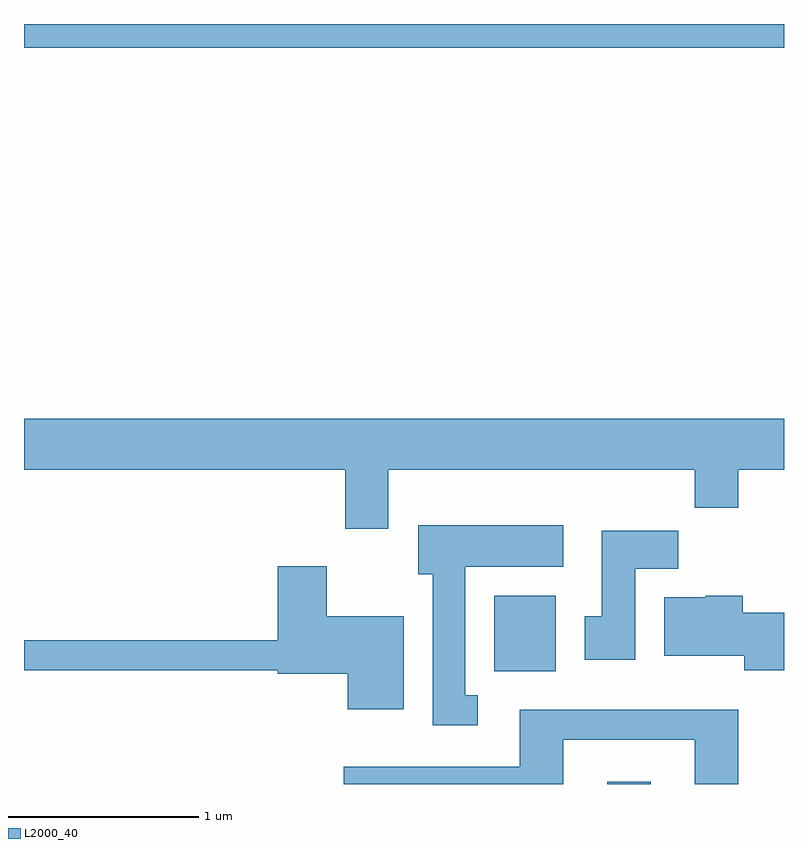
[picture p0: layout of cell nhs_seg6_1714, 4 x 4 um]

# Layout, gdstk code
import gdstk
lib = gdstk.Library(unit=1e-6, precision=1e-09)
def R(c, l, rs):  # rectangles x0, y0, x1, y1
    for r in rs: c.add(gdstk.rectangle(r[:2], r[2:], *l))
def P(c, l, *ps):  # polygons
    for p in ps: c.add(gdstk.Polygon(p, *l))
L2000_40 = (2000, 40)

nhs_seg6_1714 = lib.new_cell('nhs_seg6_1714')
R(nhs_seg6_1714, L2000_40, [(240.681,1546.162,240.909,1546.174), (240.086,1546.756,240.409,1547.154), (237.611,1550.036,241.611,1550.162)])
P(nhs_seg6_1714, L2000_40, [(239.529,1547.816),(241.141,1547.816),(241.141,1547.616),(241.369,1547.616),(241.369,1547.816),(241.611,1547.816),(241.611,1548.084),(237.611,1548.084),(237.611,1547.816),(239.301,1547.816),(239.301,1547.506),(239.529,1547.506)],
  [(239.998,1546.629),(239.934,1546.629),(239.934,1547.306),(240.449,1547.306),(240.449,1547.524),(239.686,1547.524),(239.686,1547.266),(239.761,1547.266),(239.761,1546.471),(239.998,1546.471)],
  [(240.829,1547.296),(241.054,1547.296),(241.054,1547.494),(240.651,1547.494),(240.651,1547.044),(240.561,1547.044),(240.561,1546.816),(240.829,1546.816)],
  [(239.609,1547.044),(239.204,1547.044),(239.204,1547.309),(238.946,1547.309),(238.946,1546.919),(237.611,1546.919),(237.611,1546.761),(238.946,1546.761),(238.946,1546.741),(239.316,1546.741),(239.316,1546.556),(239.609,1546.556)],
  [(241.611,1547.064),(241.394,1547.064),(241.394,1547.154),(241.2,1547.154),(241.2,1547.144),(240.981,1547.144),(240.981,1546.836),(241.401,1546.836),(241.401,1546.761),(241.611,1546.761)],
  [(240.449,1546.396),(241.141,1546.396),(241.141,1546.162),(241.369,1546.162),(241.369,1546.554),(240.221,1546.554),(240.221,1546.254),(239.293,1546.254),(239.293,1546.162),(240.449,1546.162)])

lib.write_gds('nhs_seg6_1714.gds')
